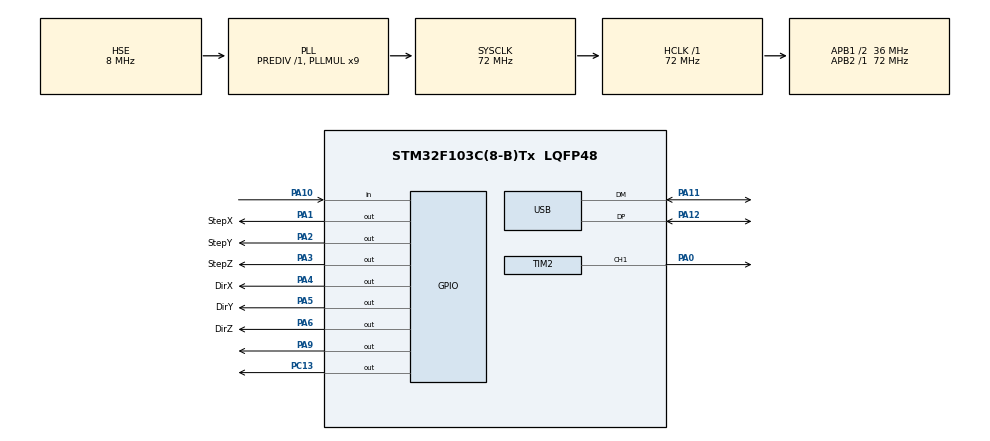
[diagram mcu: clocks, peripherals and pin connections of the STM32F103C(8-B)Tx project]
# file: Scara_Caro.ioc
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Mcu.Family=STM32F1
Mcu.Name=STM32F103C(8-B)Tx
Mcu.Package=LQFP48
NVIC.PriorityGroup=NVIC_PRIORITYGROUP_4
NVIC.USB_LP_CAN1_RX0_IRQn=true\:0\:0\:false\:false\:true\:false\:true\:true
PA0-WKUP.Signal=S_TIM2_CH1_ETR
PA1.GPIO_Label=StepX
PA1.GPIO_Speed=GPIO_SPEED_FREQ_HIGH
PA1.Signal=GPIO_Output
PA10.Signal=GPIO_Input
PA11.Mode=Device
PA11.Signal=USB_DM
PA12.Mode=Device
PA12.Signal=USB_DP
PA13.Mode=Serial_Wire
PA13.Signal=SYS_JTMS-SWDIO
PA14.Mode=Serial_Wire
PA14.Signal=SYS_JTCK-SWCLK
PA2.GPIO_Label=StepY
PA2.GPIO_Speed=GPIO_SPEED_FREQ_HIGH
PA2.Signal=GPIO_Output
PA3.GPIO_Label=StepZ
PA3.GPIO_Speed=GPIO_SPEED_FREQ_HIGH
PA3.Signal=GPIO_Output
PA4.GPIO_Label=DirX
PA4.GPIO_Speed=GPIO_SPEED_FREQ_HIGH
PA4.Signal=GPIO_Output
PA5.GPIO_Label=DirY
PA5.GPIO_Speed=GPIO_SPEED_FREQ_HIGH
PA5.Signal=GPIO_Output
PA6.GPIO_Label=DirZ
PA6.GPIO_Speed=GPIO_SPEED_FREQ_HIGH
PA6.Signal=GPIO_Output
PA9.Signal=GPIO_Output
PC13-TAMPER-RTC.GPIO_Speed=GPIO_SPEED_FREQ_LOW
PC13-TAMPER-RTC.Signal=GPIO_Output
PD0-OSC_IN.Mode=HSE-External-Oscillator
PD0-OSC_IN.Signal=RCC_OSC_IN
PD1-OSC_OUT.Mode=HSE-External-Oscillator
PD1-OSC_OUT.Signal=RCC_OSC_OUT
ProjectManager.HeapSize=0x200
ProjectManager.StackSize=0x400
ProjectManager.TargetToolchain=MDK-ARM V5.32
RCC.AHBFreq_Value=72000000
RCC.APB1CLKDivider=RCC_HCLK_DIV2
RCC.APB1Freq_Value=36000000
RCC.APB1TimFreq_Value=72000000
RCC.APB2Freq_Value=72000000
RCC.APB2TimFreq_Value=72000000
RCC.HCLKFreq_Value=72000000
RCC.PLLMUL=RCC_PLL_MUL9
RCC.PLLSourceVirtual=RCC_PLLSOURCE_HSE
RCC.SYSCLKFreq_VALUE=72000000
RCC.SYSCLKSource=RCC_SYSCLKSOURCE_PLLCLK
RCC.USBFreq_Value=48000000
RCC.USBPrescaler=RCC_USBCLKSOURCE_PLL_DIV1_5
SH.S_TIM2_CH1_ETR.0=TIM2_CH1,PWM Generation1 CH1
TIM1.Prescaler=71
TIM2.Channel-PWM\ Generation1\ CH1=TIM_CHANNEL_1
TIM2.Period=999
TIM2.Prescaler=71
USB_DEVICE.CLASS_NAME_FS=CDC
USB_DEVICE.VirtualMode=Cdc
USB_DEVICE.VirtualModeFS=Cdc_FS
VP_TIM1_VS_ClockSourceINT.Mode=Internal
VP_TIM2_VS_ClockSourceINT.Mode=Internal
VP_USB_DEVICE_VS_USB_DEVICE_CDC_FS.Mode=CDC_FS
board=custom

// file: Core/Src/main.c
/* USER CODE BEGIN Header */
/**
  ******************************************************************************
  * @file           : main.c
  * @brief          : Main program body
  ******************************************************************************
  * @attention
  *
  * Copyright (c) 2023 STMicroelectronics.
  * All rights reserved.
  *
  * This software is licensed under terms that can be found in the LICENSE file
  * in the root directory of this software component.
  * If no LICENSE file comes with this software, it is provided AS-IS.
  *
  ******************************************************************************
  */
/* USER CODE END Header */
#include "main.h"
#include "usb_device.h"

/* USER CODE BEGIN Includes */
#include "cmath"
#include <stdio.h>
#include <stdint.h>
#include <string.h>
#include "usbd_cdc_if.h"
/* USER CODE END Includes */

/* USER CODE BEGIN PD */

/* Configure X-axis parameters */
#define STEP_PinX 	GPIO_PIN_1
#define DIR_PinX 		GPIO_PIN_4

/* Configure Y-axis parameters */
#define STEP_PinY 	GPIO_PIN_2
#define DIR_PinY		GPIO_PIN_5

/* Configure Z-axis parameters */
#define STEP_PinZ 	GPIO_PIN_3
#define DIR_PinZ 		GPIO_PIN_6

/* Configure HC_SR04 parameters */
#define TrigPin			GPIO_PIN_9
#define EchoPin			GPIO_PIN_10

/* Configure other parameters */
#define pi 3.1415926535

/* USER CODE END PD */

TIM_HandleTypeDef htim1;
TIM_HandleTypeDef htim2;

/* USER CODE BEGIN PV */

/* Variable mode control */
uint8_t Manualdata;
uint8_t USB_Rx_Buffer[64];
float Xdata, Ydata, Zdata;
float CurDataX, CurDataY, CurDataZ;
double thetaX, thetaY;
char Modedata;
char Manualdata1;

/* Variable of Measure distance Z-axis*/
uint32_t pMillis;
uint32_t val1 = 0;
uint32_t val2 = 0;
int16_t distance  = 0;

/* Variable of Shelf. */
uint16_t LengthWH = 159;
uint8_t disX = 0;
uint8_t disY = 250;

/* Variable of current posittion */
double temp1, temp2, pz_temp;

/* USER CODE END PV */

void SystemClock_Config(void);
static void MX_GPIO_Init(void);
static void MX_TIM1_Init(void);
static void MX_TIM2_Init(void);
/* USER CODE BEGIN PFP */
void Delay_us(uint16_t timedelay);
void moveXY(long nStepX, int PInX,int dirX, long nStepY, int PInY,int dirY);
void backhome(double t1,double t2);
void Resethome(double theta1, double theta2);
void PositionControl(float Xvalue, float Yvalue, int16_t Zvalue);
void PerformSteps(int32_t steps, uint8_t direction, int stepPin, int dirPin);
void CurrentPosittion(float valueX, float valueY, int16_t valueZ);
void ImportProduct(uint8_t ProductID);
void ModeControl(uint8_t dataMode);
/* USER CODE END PFP */

/* USER CODE BEGIN 0 */

/* ----------------------CODE MOVE SCARA ARM ROBOT BEGINE--------------------*/

/* Function delay us --BEGIN-- */
void microDelay (uint32_t delay){
  __HAL_TIM_SET_COUNTER(&htim1, 0);
  while (__HAL_TIM_GET_COUNTER(&htim1) < delay);
}
/* Funotion delay us --END--*/

/* Function measure distance for Z-axis --BEGIN-- */
void measureDistance(){
	//Create pwm 10us
	HAL_GPIO_WritePin(GPIOA, TrigPin, GPIO_PIN_SET);
	microDelay(10);
	HAL_GPIO_WritePin(GPIOA, TrigPin, GPIO_PIN_RESET);

	pMillis = HAL_GetTick();
	while (!(HAL_GPIO_ReadPin (GPIOA, EchoPin)) && pMillis + 10 >  HAL_GetTick());
	val1 = __HAL_TIM_GET_COUNTER (&htim1);

	pMillis = HAL_GetTick();
	while ((HAL_GPIO_ReadPin (GPIOA, EchoPin)) && pMillis + 50 > HAL_GetTick());
	val2 = __HAL_TIM_GET_COUNTER (&htim1);

	distance = (int)((val2-val1)*0.034/2*10);

	char distance_str[1];
	sprintf(distance_str, "%d\n", distance);
	CDC_Transmit_FS((uint8_t*) distance_str, strlen(distance_str));
	HAL_Delay(1000);
}
/* Function measure distance for Z-axis --BEGIN-- */

/* Function Reset system --BEGIN-- */
void ResetSystem(void){
	 HAL_NVIC_SystemReset();
}
/* Function Reset system --END-- */

/* Move the robot arm on the xy plane-- BEGIN -- */
void moveXY(long nStepX, int stepPInX,int dirX, long nStepY, int stepPInY,int dirY){
  double nStepMax = nStepX;
  double nStepMin = nStepY;
  int stepPInMax = stepPInX;
  int stepPInMin = stepPInY;

  double current_axis_min = 0;
  long steps_axis_min = 0;
  double ratio_max_min = 0;

  if (nStepY > nStepX) {
    nStepMax = nStepY;
    nStepMin = nStepX;
    stepPInMax = stepPInY;
    stepPInMin = stepPInX;
  }

  ratio_max_min = nStepMax / nStepMin;
  if( dirX==1)
  {
    HAL_GPIO_WritePin(GPIOA,DIR_PinX, GPIO_PIN_SET);		// X-axis :CW.
  }
  else
  {
		HAL_GPIO_WritePin(GPIOA,DIR_PinX, GPIO_PIN_RESET);	 			// X-axis : CCW.
  }

 if( dirY==1)
  {
		HAL_GPIO_WritePin(GPIOA,DIR_PinY, GPIO_PIN_SET);				// Y-axis : CW.
  }
  else
  {
		HAL_GPIO_WritePin(GPIOA,DIR_PinY, GPIO_PIN_RESET);				// Y-axis : CCW.
  }

  for (int i = 1 ; i <= nStepMax ; i = i + 1) {
    current_axis_min = i / ratio_max_min;

    if (current_axis_min - steps_axis_min >= 1) {
			HAL_GPIO_WritePin(GPIOA,stepPInMin, GPIO_PIN_SET);

      steps_axis_min++;
    }
    HAL_GPIO_WritePin(GPIOA,stepPInMax, GPIO_PIN_SET);
		microDelay(50);
    HAL_GPIO_WritePin(GPIOA,stepPInMax, GPIO_PIN_RESET);
    HAL_GPIO_WritePin(GPIOA,stepPInMin, GPIO_PIN_RESET);
    microDelay(50);
  }
}
/* Move the robot arm on the xy plane --END-- */

/* Back home position from another positton --BEGIN-- */
void backhome(double theta1,double theta2){
      double dp2X=0,dp2Y=0;
      int dir2X=0,dir2Y=0;
			dp2X = (fabs(theta1) * (180 / pi)) / (1.8 / 16);
			dp2Y = (fabs(theta2) * (180 / pi)) / (1.8 / 16);
      if (theta1<0)
      {
           dir2X=1;
      }
      else
      {
          dir2X=0;
      }

       if (theta2<0)
      {
           dir2Y=1;
      }
      else
      {
          dir2Y=0;
      }

    dp2X = (int)(54*dp2X);
		dp2Y = (int)(16*dp2Y);
		moveXY(dp2X,STEP_PinX,dir2X,dp2Y,STEP_PinY,dir2Y);
	}
/* Back home position from another positton --BEGIN-- */

/* Function perform Step --BEGIN-- */
void PerformSteps(int32_t steps, uint8_t direction, int stepPin, int dirPin){
		if(direction == 0)
		{
			HAL_GPIO_WritePin(GPIOA, dirPin, GPIO_PIN_RESET); // Set direction CW.
		}
		else if (direction == 1)
		{
			HAL_GPIO_WritePin(GPIOA, dirPin, GPIO_PIN_SET);		// Set direction CW.
		}
    for (int32_t i = 0; i <= steps; i++)
    {
        HAL_GPIO_WritePin(GPIOA, stepPin, GPIO_PIN_SET);
        microDelay(150);
        HAL_GPIO_WritePin(GPIOA, stepPin, GPIO_PIN_RESET);
        microDelay(150);
    }
}
/* Function perform Step --END-- */

/* Move robot up or down --BEGIN--*/
void UpDown(int16_t distance, uint8_t direction){
	PerformSteps((int)(distance*320),direction , STEP_PinZ, DIR_PinZ);
}
/* Move robot up or down --END--*/

/* Function Reset home --BEGIN-- */
void ResetHome(double theta1,double theta2, int8_t distance){
      double dp2X=0,dp2Y=0;
      int dir2X=0,dir2Y=0;
			dp2X = (fabs(theta1) * (180 / pi)) / (1.8 / 16);
			dp2Y = (fabs(theta2) * (180 / pi)) / (1.8 / 16);
      if (theta1<0)
      {
           dir2X=1;
      }
      else
      {
          dir2X=0;
      }

       if (theta2<0)
      {
           dir2Y=1;
      }
      else
      {
          dir2Y=0;
      }

    dp2X = (int)(54*dp2X);
		dp2Y = (int)(16*dp2Y);
		moveXY(dp2X,STEP_PinX,dir2X,dp2Y,STEP_PinY,dir2Y);

		temp1 = 0;
		temp2 = 0;

		if(distance < 0){
			UpDown(-distance,1);
		}
		else{
			UpDown(distance,0);
		}
}
/* Function Reset home --END-- */

/* Function Current posittion --BEGIN-- */
void CurrentPosittion(float valueX, float valueY, int16_t valueZ){
	uint16_t l1 = 332;
	uint8_t l2 = 185;
	double px, py, c1, s1, c2,s2;

	px = valueX;
	py = valueY;
	pz_temp = valueZ;

	c2=((px*px+py*py-l1*l1-l2*l2))/(2*l1*l2);
  s2=sqrt(fabs(1-c2*c2));

	c1 = (px*l1+px*l2*c2 + py*l2*s2);
	s1 = (py*l1+py*l2*c2 - px*l2*s2);

  temp1 = atan(s1/c1);
	temp2 = atan(s2/c2);

	if (c2<0)
  {
    temp2  = pi + temp2;
  }
  if (c1<0)
  {
    temp1 = pi + temp1;
  }
}
/* Function Current posittion --END-- */

/* Move to XY position --BEGIN--*/
void PositionControl(float Xvalue, float Yvalue, int16_t Zvalue){
	int dirX=0,dirY=0;
  float l1= 332;
  float l2= 185;
  double px=0,py=0, pz=0, c1=0,s1=0,c2=0,s2=0;
  double t1=0,t2=0,dpX=0,dpY=0;

	px = Xvalue;
  py = Yvalue;
	pz = Zvalue;

  c2=((px*px+py*py-l1*l1-l2*l2))/(2*l1*l2);
  s2=sqrt(fabs(1-c2*c2));

	c1 = (px*l1+px*l2*c2 + py*l2*s2);
	s1 = (py*l1+py*l2*c2 - px*l2*s2);

  t1=atan(s1/c1);
	t2=atan(s2/c2);

	if (c2<0)
  {
    t2 = pi+t2;
  }
  if (c1<0)
  {
    t1 = pi+t1;
  }

	CurrentPosittion(CurDataX, CurDataY, CurDataZ);

	dpX=(fabs(t1-temp1)*(180/pi))/(1.8/16);
  dpY=(fabs(t2-temp2)*(180/pi))/(1.8/16);
  if ((t1-temp1)>0)
  {
    dirX=1;
  }
  else
	{
    dirX=0;
  }
  if ((t2-temp2)>0)
  {
    dirY=1;
  }
  else
  {
    dirY=0;
  }
	dpX = (int)(54*dpX);
	dpY = (int)(16*dpY);
  moveXY(dpX,STEP_PinX,dirX, dpY, STEP_PinY,dirY);

	if(pz >= pz_temp){
		UpDown(pz-pz_temp, 1);
	}
	else{
		UpDown(pz_temp - pz,0);
	}
}
/* Move to XY position --END--*/

/* Move to Product Posittion --BEGIN--*/
void PosProduct(float Xvalue, float Yvalue){
	int dirX=0,dirY=0;
  float l1= 332;
  float l2= 185;
  double px=0,py=0,c1=0,s1=0,c2=0,s2=0;
  double t1=0,t2=0,dpX=0,dpY=0;

	px = Xvalue;
  py = Yvalue;

  c2=((px*px+py*py-l1*l1-l2*l2))/(2*l1*l2);
  s2=sqrt(fabs(1-c2*c2));

	c1 = (px*l1+px*l2*c2 + py*l2*s2);
	s1 = (py*l1+py*l2*c2 - px*l2*s2);

  t1=atan(s1/c1);
	t2=atan(s2/c2);

	if (c2<0)
  {
    t2 = pi+t2;
  }
  if (c1<0)
  {
    t1 = pi+t1;
  }

	CurrentPosittion(CurDataX, CurDataY, CurDataZ);

	if(pz_temp < 0) UpDown(-pz_temp,1);

	dpX=(fabs(t1-temp1)*(180/pi))/(1.8/16);
  dpY=(fabs(t2-temp2)*(180/pi))/(1.8/16);
  if ((t1-temp1)>0)
  {
    dirX=1;
  }
  else
	{
    dirX=0;
  }
  if ((t2-temp2)>0)
  {
    dirY=1;
  }
  else
  {
    dirY=0;
  }
	dpX = (int)(54*dpX);
	dpY = (int)(16*dpY);
  moveXY(dpX,STEP_PinX,dirX, dpY, STEP_PinY,dirY);
	UpDown(20,0);
	UpDown(20,1);
	backhome(t1,t2);
}
/* Move to Product Posittion --END--*/

/* Function Manual Control --BEGIN-- */
void ManualControl(uint8_t dataManual){
	switch (dataManual){
		case 'Q':
			PerformSteps(2400, 0, STEP_PinX, DIR_PinX);		      // Move X-rotation 5degree/event - direc: CW.
			HAL_GPIO_WritePin(GPIOC, GPIO_PIN_13, GPIO_PIN_SET);
			break;
    case 'W':
			PerformSteps(2400, 1, STEP_PinX, DIR_PinX); 		    // Move X-rotation 5degree/event - direc: CCW.
			HAL_GPIO_WritePin(GPIOC, GPIO_PIN_13, GPIO_PIN_RESET);
			break;
		case 'E':
			PerformSteps(711, 0, STEP_PinY, DIR_PinY); 					// Move Y-rotation 5degree/event - direc: CW.
			HAL_GPIO_WritePin(GPIOC, GPIO_PIN_13, GPIO_PIN_SET);
			break;
    case 'R':
			PerformSteps(711, 1, STEP_PinY, DIR_PinY); 					// Move Y-rotation 5degree/event - direc: CCW.
			HAL_GPIO_WritePin(GPIOC, GPIO_PIN_13, GPIO_PIN_RESET);
			break;
    case 'T':
			PerformSteps(640, 1, STEP_PinZ, DIR_PinZ);					// Move Z-motion 2mm/event - direc: up
			HAL_GPIO_WritePin(GPIOC, GPIO_PIN_13, GPIO_PIN_SET);
      break;
    case 'Y':
			PerformSteps(640, 0, STEP_PinZ, DIR_PinZ);					// Move Z-motion 2mm/event - direc: down
			HAL_GPIO_WritePin(GPIOC, GPIO_PIN_13, GPIO_PIN_RESET);
			break;
    default:
      // Handle unrecognized command
      break;
			}
}
/* Function Manual Control --END-- */

/* Function Import Products --BEGIN-- */
void ImportProduct(uint8_t ProductID){

	float CenterX, CenterY;

	if (ProductID % 3 != 0){
			CenterX = (ProductID%3) * ( LengthWH /3) - (LengthWH/6) + disX;
			CenterY = ((int)(ProductID/3) + 1)* (LengthWH /3) - (LengthWH/6) + disY;
	}
	else{
			CenterX = LengthWH - (LengthWH/6) + disX;
			CenterY = (int)(ProductID/3)* (LengthWH /3) - (LengthWH/6) + disY;
	}
	PosProduct(CenterX, CenterY);
}
/* Function Import Products --END-- */

/* Function Selected mode --BEGIN-- */
void ModeControl(uint8_t dataMode){
	switch (dataMode){
		case 'M':
			ManualControl(Manualdata);
			break;
    case 'A':
			PositionControl(Xdata, Ydata, Zdata);
			break;
		case 'V':
			ResetHome(CurDataX, CurDataY, CurDataZ);
			break;
		case 'I':
			ImportProduct(Xdata);
			break;
		case 'L':
			ResetSystem();
		default:
			break;
	}
}
/* Function Selected mode--END-- */

/* ----------------------CODE MOVE SCARA ARM ROBOT END----------------------------------------*/

/* USER CODE END 0 */

int main(void)
{

  /* MCU Configuration--------------------------------------------------------*/

  /* Reset of all peripherals, Initializes the Flash interface and the Systick. */
  HAL_Init();

  /* Configure the system clock */
  SystemClock_Config();

  /* USER CODE BEGIN SysInit */

	// Turn on the clock for port A
  __HAL_RCC_GPIOA_CLK_ENABLE();

  /* USER CODE END SysInit */

  /* Initialize all configured peripherals */
  MX_GPIO_Init();
  MX_TIM1_Init();
  MX_TIM2_Init();
  MX_USB_DEVICE_Init();
  /* USER CODE BEGIN 2 */
	HAL_TIM_PWM_Start(&htim2, TIM_CHANNEL_1);
	HAL_TIM_Base_Start(&htim1);
  /* USER CODE END 2 */

  /* Infinite loop */
  /* USER CODE BEGIN WHILE */
  while (1)
  {
		//measureDistance();
  }
}

void SystemClock_Config(void)
{
  RCC_OscInitTypeDef RCC_OscInitStruct = {0};
  RCC_ClkInitTypeDef RCC_ClkInitStruct = {0};
  RCC_PeriphCLKInitTypeDef PeriphClkInit = {0};

  /** Initializes the RCC Oscillators according to the specified parameters
  * in the RCC_OscInitTypeDef structure.
  */
  RCC_OscInitStruct.OscillatorType = RCC_OSCILLATORTYPE_HSE;
  RCC_OscInitStruct.HSEState = RCC_HSE_ON;
  RCC_OscInitStruct.HSEPredivValue = RCC_HSE_PREDIV_DIV1;
  RCC_OscInitStruct.HSIState = RCC_HSI_ON;
  RCC_OscInitStruct.PLL.PLLState = RCC_PLL_ON;
  RCC_OscInitStruct.PLL.PLLSource = RCC_PLLSOURCE_HSE;
  RCC_OscInitStruct.PLL.PLLMUL = RCC_PLL_MUL9;
  if (HAL_RCC_OscConfig(&RCC_OscInitStruct) != HAL_OK)
  {
    Error_Handler();
  }

  /** Initializes the CPU, AHB and APB buses clocks
  */
  RCC_ClkInitStruct.ClockType = RCC_CLOCKTYPE_HCLK|RCC_CLOCKTYPE_SYSCLK
                              |RCC_CLOCKTYPE_PCLK1|RCC_CLOCKTYPE_PCLK2;
  RCC_ClkInitStruct.SYSCLKSource = RCC_SYSCLKSOURCE_PLLCLK;
  RCC_ClkInitStruct.AHBCLKDivider = RCC_SYSCLK_DIV1;
  RCC_ClkInitStruct.APB1CLKDivider = RCC_HCLK_DIV2;
  RCC_ClkInitStruct.APB2CLKDivider = RCC_HCLK_DIV1;

  if (HAL_RCC_ClockConfig(&RCC_ClkInitStruct, FLASH_LATENCY_2) != HAL_OK)
  {
    Error_Handler();
  }
  PeriphClkInit.PeriphClockSelection = RCC_PERIPHCLK_USB;
  PeriphClkInit.UsbClockSelection = RCC_USBCLKSOURCE_PLL_DIV1_5;
  if (HAL_RCCEx_PeriphCLKConfig(&PeriphClkInit) != HAL_OK)
  {
    Error_Handler();
  }
}

static void MX_TIM1_Init(void)
{

  TIM_ClockConfigTypeDef sClockSourceConfig = {0};
  TIM_MasterConfigTypeDef sMasterConfig = {0};

  htim1.Instance = TIM1;
  htim1.Init.Prescaler = 71;
  htim1.Init.CounterMode = TIM_COUNTERMODE_UP;
  htim1.Init.Period = 65535;
  htim1.Init.ClockDivision = TIM_CLOCKDIVISION_DIV1;
  htim1.Init.RepetitionCounter = 0;
  htim1.Init.AutoReloadPreload = TIM_AUTORELOAD_PRELOAD_DISABLE;
  if (HAL_TIM_Base_Init(&htim1) != HAL_OK)
  {
    Error_Handler();
  }
  sClockSourceConfig.ClockSource = TIM_CLOCKSOURCE_INTERNAL;
  if (HAL_TIM_ConfigClockSource(&htim1, &sClockSourceConfig) != HAL_OK)
  {
    Error_Handler();
  }
  sMasterConfig.MasterOutputTrigger = TIM_TRGO_RESET;
  sMasterConfig.MasterSlaveMode = TIM_MASTERSLAVEMODE_DISABLE;
  if (HAL_TIMEx_MasterConfigSynchronization(&htim1, &sMasterConfig) != HAL_OK)
  {
    Error_Handler();
  }

}

static void MX_TIM2_Init(void)
{

  TIM_ClockConfigTypeDef sClockSourceConfig = {0};
  TIM_MasterConfigTypeDef sMasterConfig = {0};
  TIM_OC_InitTypeDef sConfigOC = {0};

  htim2.Instance = TIM2;
  htim2.Init.Prescaler = 71;
  htim2.Init.CounterMode = TIM_COUNTERMODE_UP;
  htim2.Init.Period = 999;
  htim2.Init.ClockDivision = TIM_CLOCKDIVISION_DIV1;
  htim2.Init.AutoReloadPreload = TIM_AUTORELOAD_PRELOAD_DISABLE;
  if (HAL_TIM_Base_Init(&htim2) != HAL_OK)
  {
    Error_Handler();
  }
  sClockSourceConfig.ClockSource = TIM_CLOCKSOURCE_INTERNAL;
  if (HAL_TIM_ConfigClockSource(&htim2, &sClockSourceConfig) != HAL_OK)
  {
    Error_Handler();
  }
  if (HAL_TIM_PWM_Init(&htim2) != HAL_OK)
  {
    Error_Handler();
  }
  sMasterConfig.MasterOutputTrigger = TIM_TRGO_RESET;
  sMasterConfig.MasterSlaveMode = TIM_MASTERSLAVEMODE_DISABLE;
  if (HAL_TIMEx_MasterConfigSynchronization(&htim2, &sMasterConfig) != HAL_OK)
  {
    Error_Handler();
  }
  sConfigOC.OCMode = TIM_OCMODE_PWM1;
  sConfigOC.Pulse = 0;
  sConfigOC.OCPolarity = TIM_OCPOLARITY_HIGH;
  sConfigOC.OCFastMode = TIM_OCFAST_DISABLE;
  if (HAL_TIM_PWM_ConfigChannel(&htim2, &sConfigOC, TIM_CHANNEL_1) != HAL_OK)
  {
    Error_Handler();
  }
  HAL_TIM_MspPostInit(&htim2);

}

static void MX_GPIO_Init(void)
{
  GPIO_InitTypeDef GPIO_InitStruct = {0};

  /* GPIO Ports Clock Enable */
  __HAL_RCC_GPIOC_CLK_ENABLE();
  __HAL_RCC_GPIOD_CLK_ENABLE();
  __HAL_RCC_GPIOA_CLK_ENABLE();

  /*Configure GPIO pin Output Level */
  HAL_GPIO_WritePin(GPIOC, GPIO_PIN_13, GPIO_PIN_RESET);

  /*Configure GPIO pin Output Level */
  HAL_GPIO_WritePin(GPIOA, StepX_Pin|StepY_Pin|StepZ_Pin|DirX_Pin
                          |DirY_Pin|DirZ_Pin|GPIO_PIN_9, GPIO_PIN_RESET);

  /*Configure GPIO pin : PC13 */
  GPIO_InitStruct.Pin = GPIO_PIN_13;
  GPIO_InitStruct.Mode = GPIO_MODE_OUTPUT_PP;
  GPIO_InitStruct.Pull = GPIO_NOPULL;
  GPIO_InitStruct.Speed = GPIO_SPEED_FREQ_LOW;
  HAL_GPIO_Init(GPIOC, &GPIO_InitStruct);

  /*Configure GPIO pins : StepX_Pin StepY_Pin StepZ_Pin DirX_Pin
                           DirY_Pin DirZ_Pin */
  GPIO_InitStruct.Pin = StepX_Pin|StepY_Pin|StepZ_Pin|DirX_Pin
                          |DirY_Pin|DirZ_Pin;
  GPIO_InitStruct.Mode = GPIO_MODE_OUTPUT_PP;
  GPIO_InitStruct.Pull = GPIO_NOPULL;
  GPIO_InitStruct.Speed = GPIO_SPEED_FREQ_HIGH;
  HAL_GPIO_Init(GPIOA, &GPIO_InitStruct);

  /*Configure GPIO pin : PA9 */
  GPIO_InitStruct.Pin = GPIO_PIN_9;
  GPIO_InitStruct.Mode = GPIO_MODE_OUTPUT_PP;
  GPIO_InitStruct.Pull = GPIO_NOPULL;
  GPIO_InitStruct.Speed = GPIO_SPEED_FREQ_LOW;
  HAL_GPIO_Init(GPIOA, &GPIO_InitStruct);

  /*Configure GPIO pin : PA10 */
  GPIO_InitStruct.Pin = GPIO_PIN_10;
  GPIO_InitStruct.Mode = GPIO_MODE_INPUT;
  GPIO_InitStruct.Pull = GPIO_NOPULL;
  HAL_GPIO_Init(GPIOA, &GPIO_InitStruct);

}

void Error_Handler(void)
{
  __disable_irq();
  while (1)
  {
  }
}
